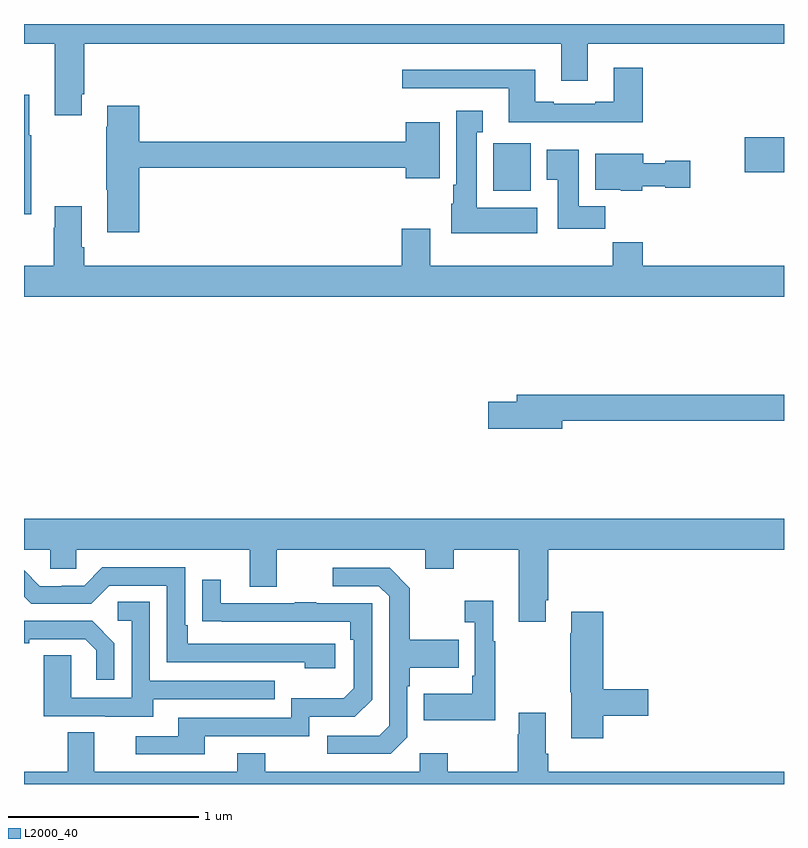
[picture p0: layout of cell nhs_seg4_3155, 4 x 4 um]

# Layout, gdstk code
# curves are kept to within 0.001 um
import gdstk
lib = gdstk.Library(unit=1e-6, precision=1e-09)
def R(c, l, rs):  # rectangles x0, y0, x1, y1
    for r in rs: c.add(gdstk.rectangle(r[:2], r[2:], *l))
def P(c, l, *ps):  # polygons
    for p in ps: c.add(gdstk.Polygon(p, *l))
L2000_40 = (2000, 40)

nhs_seg4_3155 = lib.new_cell('nhs_seg4_3155')
R(nhs_seg4_3155, L2000_40, [(279.471,820.022,279.667,820.272), (280.794,820.121,281,820.304)])
P(nhs_seg4_3155, L2000_40, [(277.303,820.531),(277.316,820.531),(277.316,820.796),(279.827,820.796),(279.827,820.602),(279.967,820.602),(279.967,820.796),(281,820.796),(281,820.9),(277,820.9),(277,820.796),(277.163,820.796),(277.163,820.419),(277.303,820.419)],
  [(280.256,820.669),(280.103,820.669),(280.103,820.492),(280.007,820.492),(280.007,820.479),(279.787,820.479),(279.787,820.492),(279.691,820.492),(279.691,820.66),(278.991,820.66),(278.991,820.563),(279.551,820.563),(279.551,820.382),(280.256,820.382)],
  [(277.039,820.315),(277.027,820.315),(277.027,820.528),(277,820.528),(277,819.899),(277.039,819.899)],
  [(277.607,820.144),(279.008,820.144),(279.008,820.088),(279.187,820.088),(279.187,820.384),(279.008,820.384),(279.008,820.28),(277.607,820.28),(277.607,820.471),(277.439,820.471),(277.439,820.358),(277.432,820.358),(277.432,820.027),(277.439,820.027),(277.439,819.804),(277.607,819.804)],
  [(279.7,819.934),(279.382,819.934),(279.382,820.331),(279.415,820.331),(279.415,820.444),(279.275,820.444),(279.275,820.054),(279.26,820.054),(279.26,819.954),(279.248,819.954),(279.248,819.8),(279.7,819.8)],
  [(280.058,819.94),(279.919,819.94),(279.919,820.237),(279.752,820.237),(279.752,820.081),(279.809,820.081),(279.809,819.822),(280.058,819.822)],
  [(280.254,820.046),(280.374,820.046),(280.374,820.039),(280.507,820.039),(280.507,820.181),(280.374,820.181),(280.374,820.168),(280.258,820.168),(280.258,820.216),(280.007,820.216),(280.007,820.028),(280.14,820.028),(280.14,820.022),(280.254,820.022)],
  [(281,819.628),(280.256,819.628),(280.256,819.752),(280.099,819.752),(280.099,819.628),(279.139,819.628),(279.139,819.823),(278.987,819.823),(278.987,819.628),(277.316,819.628),(277.316,819.724),(277.303,819.724),(277.303,819.94),(277.163,819.94),(277.163,819.827),(277.156,819.827),(277.156,819.628),(277,819.628),(277,819.464),(281,819.464)],
  [(279.832,818.812),(281,818.812),(281,818.948),(279.593,818.948),(279.593,818.912),(279.444,818.912),(279.444,818.77),(279.832,818.77)],
  [(279.745,817.867),(279.758,817.867),(279.758,818.132),(281,818.132),(281,818.296),(277,818.296),(277,818.132),(277.137,818.132),(277.137,818.034),(277.275,818.034),(277.275,818.132),(278.189,818.132),(278.189,817.938),(278.329,817.938),(278.329,818.132),(279.113,818.132),(279.113,818.033),(279.261,818.033),(279.261,818.132),(279.605,818.132),(279.605,817.755),(279.745,817.755)],
  [(278.638,817.638),(277.861,817.638),(277.861,817.735),(277.848,817.735),(277.848,818.04),(277.413,818.04),(277.317,817.944),(277.199,817.944),(277.199,817.941),(277.083,817.941),(277,818.024),(277,817.886),(277.038,817.848),(277.353,817.848),(277.449,817.944),(277.752,817.944),(277.752,817.542),(278.477,817.542),(278.477,817.508),(278.638,817.508)],
  [(279.018,817.146),(279.018,817.415),(279.031,817.415),(279.031,817.511),(279.287,817.511),(279.287,817.659),(279.031,817.659),(279.031,817.931),(278.925,818.037),(278.625,818.037),(278.625,817.941),(278.868,817.941),(278.922,817.887),(278.922,817.206),(278.871,817.155),(278.595,817.155),(278.595,817.059),(278.931,817.059)],
  [(277.951,817.152),(278.502,817.152),(278.502,817.254),(278.742,817.254),(278.832,817.344),(278.832,817.851),(278.537,817.851),(278.537,817.856),(278.425,817.856),(278.425,817.851),(278.035,817.851),(278.035,817.975),(277.939,817.975),(277.939,817.756),(278.716,817.755),(278.716,817.658),(278.736,817.658),(278.736,817.404),(278.683,817.351),(278.406,817.351),(278.406,817.248),(277.811,817.248),(277.811,817.152),(277.587,817.152),(277.587,817.056),(277.951,817.056)],
  [(279.481,817.651),(279.469,817.651),(279.469,817.864),(279.321,817.864),(279.321,817.751),(279.372,817.751),(279.372,817.471),(279.36,817.471),(279.36,817.375),(279.103,817.375),(279.103,817.235),(279.481,817.235)],
  [(277.681,817.347),(278.321,817.347),(278.321,817.443),(277.662,817.443),(277.662,817.859),(277.494,817.859),(277.494,817.758),(277.566,817.758),(277.566,817.353),(277.248,817.353),(277.248,817.577),(277.103,817.577),(277.103,817.257),(277.427,817.257),(277.427,817.253),(277.681,817.253)],
  [(280.049,817.258),(280.285,817.258),(280.285,817.4),(280.049,817.4),(280.049,817.807),(279.881,817.807),(279.881,817.694),(279.874,817.694),(279.874,817.383),(279.881,817.383),(279.881,817.14),(280.049,817.14)],
  [(277.476,817.642),(277.36,817.758),(277,817.758),(277,817.64),(277.027,817.64),(277.027,817.662),(277.322,817.662),(277.379,817.605),(277.379,817.449),(277.476,817.449)],
  [(281,816.964),(279.758,816.964),(279.758,817.06),(279.745,817.06),(279.745,817.276),(279.605,817.276),(279.605,817.163),(279.598,817.163),(279.598,816.964),(279.231,816.964),(279.231,817.063),(279.084,817.063),(279.084,816.964),(278.271,816.964),(278.271,817.063),(278.123,817.063),(278.123,816.964),(277.369,816.964),(277.369,817.172),(277.229,817.172),(277.229,816.964),(277,816.964),(277,816.9),(281,816.9)])

lib.write_gds('nhs_seg4_3155.gds')
